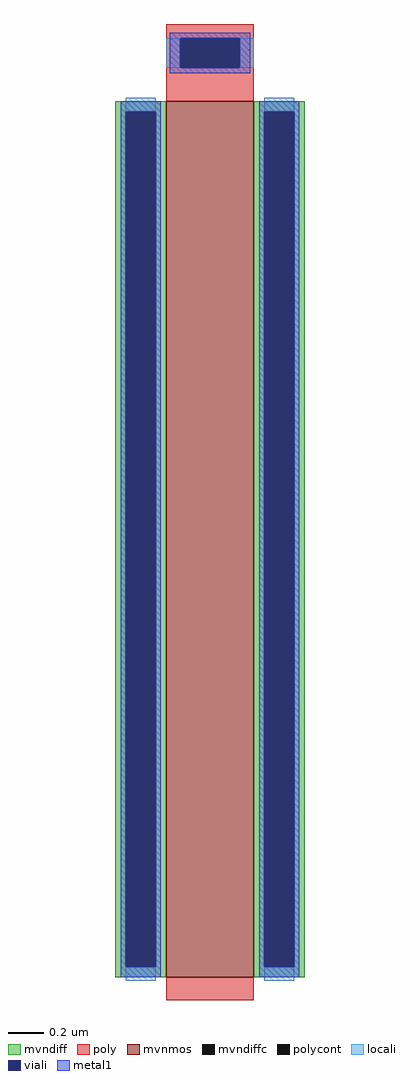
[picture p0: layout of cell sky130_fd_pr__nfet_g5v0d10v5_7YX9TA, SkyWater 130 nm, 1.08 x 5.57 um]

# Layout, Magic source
magic
tech sky130A
magscale 1 2
<< mvnmos >>
rect -50 -531 50 469
<< mvndiff >>
rect -108 457 -50 469
rect -108 -519 -96 457
rect -62 -519 -50 457
rect -108 -531 -50 -519
rect 50 457 108 469
rect 50 -519 62 457
rect 96 -519 108 457
rect 50 -531 108 -519
<< mvndiffc >>
rect -96 -519 -62 457
rect 62 -519 96 457
<< poly >>
rect -50 541 50 557
rect -50 507 -34 541
rect 34 507 50 541
rect -50 469 50 507
rect -50 -557 50 -531
<< polycont >>
rect -34 507 34 541
<< locali >>
rect -50 507 -34 541
rect 34 507 50 541
rect -96 457 -62 473
rect -96 -535 -62 -519
rect 62 457 96 473
rect 62 -535 96 -519
<< viali >>
rect -34 507 34 541
rect -96 -519 -62 457
rect 62 -519 96 457
<< metal1 >>
rect -46 541 46 547
rect -46 507 -34 541
rect 34 507 46 541
rect -46 501 46 507
rect -102 457 -56 469
rect -102 -519 -96 457
rect -62 -519 -56 457
rect -102 -531 -56 -519
rect 56 457 102 469
rect 56 -519 62 457
rect 96 -519 102 457
rect 56 -531 102 -519
<< properties >>
string gencell sky130_fd_pr__nfet_g5v0d10v5
string library sky130
string parameters w 5.0 l 0.5 m 1 nf 1 diffcov 100 polycov 100 guard 0 glc 0 grc 0 gtc 0 gbc 0 tbcov 100 rlcov 100 topc 1 botc 0 poverlap 0 doverlap 1 lmin 0.50 wmin 0.42 compatible {sky130_fd_pr__nfet_01v8 sky130_fd_pr__nfet_01v8_lvt  sky130_fd_bs_flash__special_sonosfet_star  sky130_fd_pr__nfet_g5v0d10v5 sky130_fd_pr__nfet_05v0_nvt  sky130_fd_pr__nfet_03v3_nvt} full_metal 0 viasrc 100 viadrn 100 viagate 100 viagb 0 viagr 0 viagl 0 viagt 0
<< end >>
